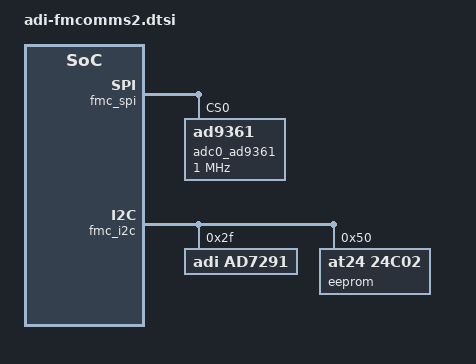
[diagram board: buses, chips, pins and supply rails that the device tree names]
/ {
	clocks {
		ad9361_clkin: clock@0 {
			#clock-cells = <0>;
			compatible = "fixed-clock";
			clock-frequency = <40000000>;
			clock-output-names = "ad9361_ext_refclk";
		};
	};
};

&fmc_spi {
	adc0_ad9361: ad9361@0 {
		#address-cells = <1>;
		#size-cells = <0>;
		#clock-cells = <1>;
		compatible = "ad9361";

		/* SPI Setup */
		reg = <0>;
		spi-cpha;
		spi-max-frequency = <1000000>;

		/* Clocks */
		clocks = <&ad9361_clkin 0>;
		clock-names = "ad9361_ext_refclk";
		clock-output-names = "rx_sampl_clk", "tx_sampl_clk";

		/* Digital Interface Control */

		adi,pp-tx-swap-enable;
		adi,pp-rx-swap-enable;
		adi,rx-frame-pulse-mode-enable;
		adi,lvds-mode-enable;
		adi,lvds-bias-mV = <150>;
		adi,lvds-rx-onchip-termination-enable;
		adi,rx-data-delay = <4>;
		adi,tx-fb-clock-delay = <7>;

		adi,dcxo-coarse-and-fine-tune = <8 4096>;

		/* Mode Setup */

		adi,2rx-2tx-mode-enable;
		adi,frequency-division-duplex-mode-enable;
		adi,split-gain-table-mode-enable;

		/* adi,rx-rf-port-input-select:
		 * 0 = (RX1A_N &  RX1A_P) and (RX2A_N & RX2A_P) enabled; balanced
		 * 1 = (RX1B_N &  RX1B_P) and (RX2B_N & RX2B_P) enabled; balanced
		 * 2 = (RX1C_N &  RX1C_P) and (RX2C_N & RX2C_P) enabled; balanced
		 *
		 * 3 = RX1A_N and RX2A_N enabled; unbalanced
		 * 4 = RX1A_P and RX2A_P enabled; unbalanced
		 * 5 = RX1B_N and RX2B_N enabled; unbalanced
		 * 6 = RX1B_P and RX2B_P enabled; unbalanced
		 * 7 = RX1C_N and RX2C_N enabled; unbalanced
		 * 8 = RX1C_P and RX2C_P enabled; unbalanced
		 */

		adi,rx-rf-port-input-select = <0>; /* (RX1A_N &  RX1A_P) and (RX2A_N & RX2A_P) enabled; balanced */

		/* adi,tx-rf-port-input-select:
		 * 0	TX1A, TX2A
		 * 1	TX1B, TX2B
		 */

		adi,tx-rf-port-input-select = <0>; /* TX1A, TX2A */

		adi,rf-rx-bandwidth-hz = <18000000>;
		adi,rf-tx-bandwidth-hz = <18000000>;
		adi,rx-synthesizer-frequency-hz = /bits/ 64 <2400000000>;
		adi,tx-synthesizer-frequency-hz = /bits/ 64 <2400000000>;

		/*				BBPLL     ADC        R2CLK     R1CLK    CLKRF    RSAMPL  */
		adi,rx-path-clock-frequencies = <983040000 245760000 122880000 61440000 30720000 30720000>;
		/*				BBPLL     DAC        T2CLK     T1CLK    CLKTF    TSAMPL  */
		adi,tx-path-clock-frequencies = <983040000 122880000 122880000 61440000 30720000 30720000>;

		/* Gain Control */

		/* adi,gc-rx[1|2]-mode:
		 * 0 = RF_GAIN_MGC
		 * 1 = RF_GAIN_FASTATTACK_AGC
		 * 2 = RF_GAIN_SLOWATTACK_AGC
		 * 3 = RF_GAIN_HYBRID_AGC
		 */

		adi,gc-rx1-mode = <2>;
		adi,gc-rx2-mode = <2>;
		adi,gc-adc-ovr-sample-size = <4>; /* sum 4 samples */
		adi,gc-adc-small-overload-thresh = <47>; /* sum of squares */
		adi,gc-adc-large-overload-thresh = <58>; /* sum of squares */
		adi,gc-lmt-overload-high-thresh = <800>; /* mV */
		adi,gc-lmt-overload-low-thresh = <704>; /* mV */
		adi,gc-analog-settling-time = <2>; /* Rx Sample Periods */
		adi,gc-dec-pow-measurement-duration = <8192>; /* 0..524288 Samples */
		adi,gc-low-power-thresh = <24>; /* 0..-64 dBFS vals are set pos */
		//adi,gc-dig-gain-enable;
		//adi,gc-max-dig-gain = <15>;

		/* Manual Gain Control Setup */

		//adi,mgc-rx1-ctrl-inp-enable; /* uncomment to use ctrl inputs */
		//adi,mgc-rx2-ctrl-inp-enable; /* uncomment to use ctrl inputs */
		adi,mgc-inc-gain-step = <2>;
		adi,mgc-dec-gain-step = <2>;

		/* adi,mgc-split-table-ctrl-inp-gain-mode:
		 * (relevant if adi,split-gain-table-mode-enable is set)
		 * 0 = AGC determine this
		 * 1 = only in LPF
		 * 2 = only in LMT
		 */

		adi,mgc-split-table-ctrl-inp-gain-mode = <0>;

		/* Automatic Gain Control Setup */

		adi,agc-attack-delay-us = <10>; /* us */
		adi,agc-settling-delay = <10>; /* 0..31 Samples */
		adi,agc-outer-thresh-high = <5>; /* -dBFS */
		adi,agc-outer-thresh-high-dec-steps = <2>; /* 0..15 */
		adi,agc-inner-thresh-high = <10>; /* -dBFS */
		adi,agc-inner-thresh-high-dec-steps = <1>; /* 0..7 */
		adi,agc-inner-thresh-low = <12>; /* -dBFS */
		adi,agc-inner-thresh-low-inc-steps = <1>; /* 0..7 */
		adi,agc-outer-thresh-low = <18>; /* -dBFS */
		adi,agc-outer-thresh-low-inc-steps = <2>; /* 0..15 */

		adi,agc-adc-small-overload-exceed-counter = <10>; /* 0..15 */
		adi,agc-adc-large-overload-exceed-counter = <10>; /* 0..15 */
		adi,agc-adc-large-overload-inc-steps = <2>; /* 0..15 */
		//adi,agc-adc-lmt-small-overload-prevent-gain-inc-enable;
		adi,agc-lmt-overload-large-exceed-counter = <10>; /* 0..15 */
		adi,agc-lmt-overload-small-exceed-counter = <10>; /* 0..15 */
		adi,agc-lmt-overload-large-inc-steps = <2>; /* 0..7 */
		//adi,agc-dig-saturation-exceed-counter = <3>; /* 0..15 */
		//adi,agc-dig-gain-step-size = <4>; /* 1..8 */

		//adi,agc-sync-for-gain-counter-enable;
		adi,agc-gain-update-counter = <15360>;  /* 0..262140 Samples */
		//adi,agc-immed-gain-change-if-large-adc-overload-enable;
		//adi,agc-immed-gain-change-if-large-lmt-overload-enable;

		/* RSSI */

		/* adi,rssi-restart-mode:
		 * 0 = AGC_IN_FAST_ATTACK_MODE_LOCKS_THE_GAIN,
		 * 1 = EN_AGC_PIN_IS_PULLED_HIGH,
		 * 2 = ENTERS_RX_MODE,
		 * 3 = GAIN_CHANGE_OCCURS,
		 * 4 = SPI_WRITE_TO_REGISTER,
		 * 5 = GAIN_CHANGE_OCCURS_OR_EN_AGC_PIN_PULLED_HIGH,
		 */
		adi,rssi-restart-mode = <3>;
		//adi,rssi-unit-is-rx-samples-enable;
		adi,rssi-delay = <1>; /* 1us */
		adi,rssi-wait = <1>; /* 1us */
		adi,rssi-duration = <1000>; /* 1ms */

		/* Control Outputs */
		adi,ctrl-outs-index = <0>;
		adi,ctrl-outs-enable-mask = <0xFF>;

		/* AuxADC Temp Sense Control */

		adi,temp-sense-measurement-interval-ms = <1000>;
		adi,temp-sense-offset-signed = <0xCE>;
		adi,temp-sense-periodic-measurement-enable;

	};
};

&fmc_i2c {
	ad7291@2f {
		compatible = "adi,ad7291";
		reg = <0x2f>;
	};

	eeprom@50 {
		compatible = "at24,24c02";
		reg = <0x50>;
	};
};
